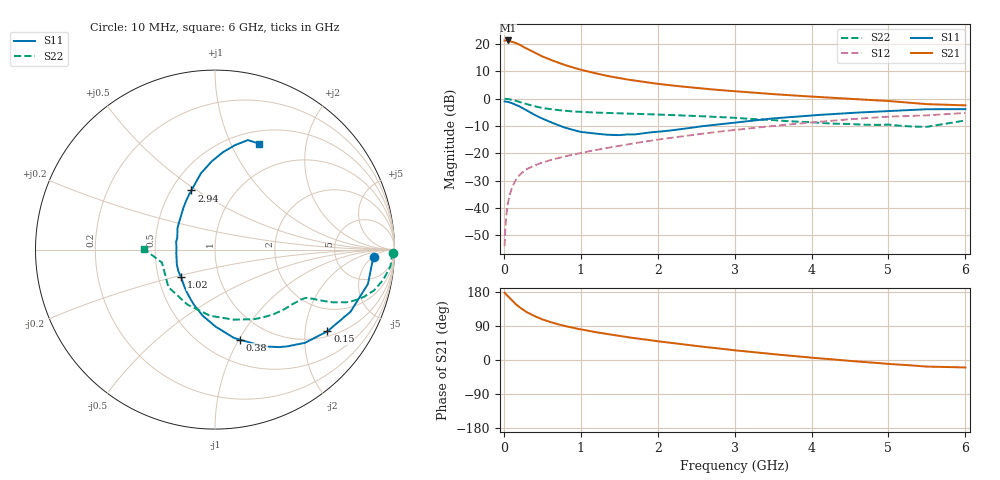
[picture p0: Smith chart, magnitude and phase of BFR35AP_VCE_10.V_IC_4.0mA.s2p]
! Infineon Technologies  Discrete & RF Semiconductors
! BFR35AP
! VCE =  10. V,  IC =  4.0 mA
! Common Emitter S-Parameters:  Nov 2015
# GHz  S  MA  R  50
!  f  S11  S21  S12  S22
! GHz  MAG  ANG  MAG  ANG  MAG  ANG  MAG  ANG
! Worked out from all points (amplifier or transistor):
!   210 points, 10 MHz to 6 GHz, reference 50 ohm
!   highest |S21| = 21.2 dB at 50 MHz (marker M1)
!   |S21| within 3 dB of that: start of sweep to 301 MHz
!   unconditionally stable (mu >= 1): 936.7 MHz to 3.01 GHz
!   at 185 MHz: K = 0.32, MSG = 24.3 dB, |S12| = -28.7 dB
!   at 1.52 GHz: K = 1.11, MAG = 10.3 dB, |S12| = -17.2 dB
!   at 6 GHz: K = 0.89, MSG = 1.4 dB, |S12| = -5.3 dB
!   S11 on the Smith chart (normalised r, x): 10 MHz: 14, -5; 150 MHz: 1.15, -2.63; 380 MHz: 0.73, -1.01; 1.02 GHz: 0.65, -0.21; 2.94 GHz: 0.63, +0.47; 6 GHz: 0.64, +1.29
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0.01  0.884 -2.6  11.49 177.6  0.002 88.5  0.9946 -1.0
0.025  0.8764 -6.3  11.46 174.1  0.0054 87.4  0.9855 -2.6
0.05  0.8734 -12.7  11.51 168.9  0.0115 84.4  0.9821 -5.4
0.1  0.8308 -24.6  10.98 158.8  0.0221 75.8  0.9519 -10.3
0.15  0.7744 -36.0  10.42 148.1  0.0316 71.1  0.9136 -14.5
0.2  0.722 -46.0  9.707 139.9  0.0392 66.8  0.8687 -17.7
0.24  0.6733 -53.2  9.013 134.1  0.0444 63.9  0.834 -19.7
0.3  0.6032 -63.4  8.164 125.9  0.0513 61.1  0.7876 -21.9
0.38  0.5208 -74.5  7.175 118.0  0.0581 58.5  0.733 -23.6
0.4  0.5039 -77.8  6.953 115.7  0.0598 58.0  0.7195 -24.1
0.5  0.4302 -89.4  5.887 107.1  0.0674 56.4  0.6706 -25.3
0.6  0.3753 -100.4  5.137 100.5  0.0746 56.0  0.6407 -26.0
0.7  0.3292 -110.9  4.56 94.5  0.081 56.1  0.6159 -26.5
0.8  0.2919 -121.2  4.069 89.4  0.0879 56.0  0.5962 -27.1
1.02  0.2432 -141.5  3.307 80.1  0.1024 57.2  0.5678 -28.5
1.4  0.2162 -175.1  2.501 66.8  0.1289 57.9  0.542 -32.4
2.02  0.2481 145.1  1.842 49.0  0.1784 57.0  0.5085 -40.9
2.94  0.3548 111.8  1.379 27.1  0.261 51.7  0.4482 -59.3
3.1  0.3753 108.1  1.324 23.7  0.2761 50.1  0.434 -63.5
4.1  0.5015 90.7  1.063 4.5  0.3753 40.0  0.3599 -98.5
5.1  0.5995 78.1  0.878 -11.6  0.4704 25.9  0.3228 -145.7
6  0.6395 67.5  0.75 -19.7  0.5457 15.0  0.397 179.5
